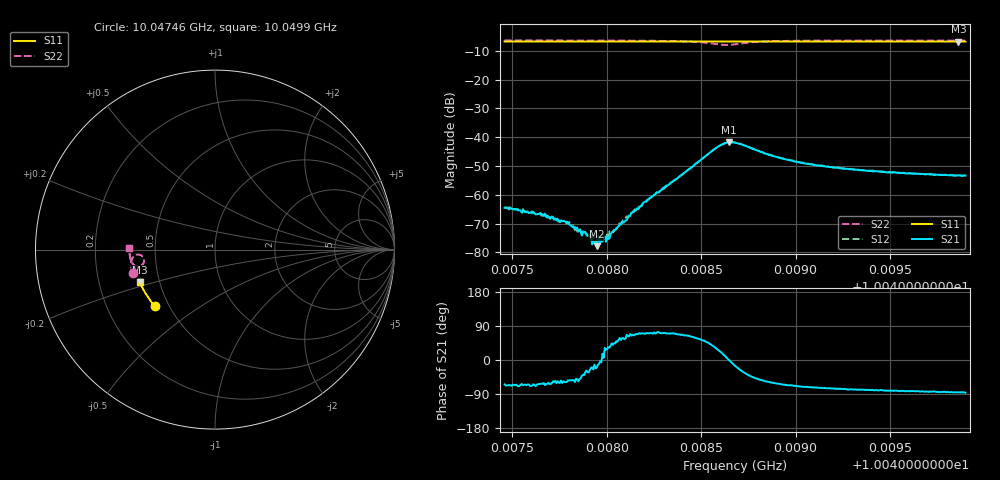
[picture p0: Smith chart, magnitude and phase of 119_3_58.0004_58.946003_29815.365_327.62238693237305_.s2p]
#  HZ  S  RI  R  50.00
! Rohde & Schwarz Vector Network Analyzer
! Rohde-Schwarz,ZNB20-2Port,1311601062101988,3.16
! Created: UTC 3/21/2024, 12:55:39 AM
! freq[Hz]  re:S11  im:S11  re:S21  im:S21  re:S12  im:S12  re:S22  im:S22
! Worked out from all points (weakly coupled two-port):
!   401 points, 10.04746 GHz to 10.0499 GHz, reference 50 ohm
!   highest |S21| = -41.78 dB at 10.04865 GHz (marker M1); lowest = -77.8 dB at 10.04795 GHz (marker M2)
!   lowest |S11| = -6.8 dB at 10.04986 GHz (marker M3), VSWR 2.67, Z = 19.4 - j8.8 ohm
!   |S11| at or under -10 dB: nowhere
!   |S22| runs from -8.0 to -6.4 dB; largest |S21 - S12| = 0.00054
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1.004746e10  -0.3358 -0.3145  0.000257 -0.000535  0.000269 -0.000539  -0.4594 -0.1326
1.0047661e10  -0.3445 -0.3043  0.000209 -0.000405  0.000221 -0.000388  -0.4627 -0.1183
1.0047783e10  -0.3497 -0.298  0.000174 -0.000283  0.000204 -0.000274  -0.4643 -0.1093
1.0047813e10  -0.351 -0.2963  0.000169 -0.000234  0.000187 -0.000238  -0.4647 -0.1068
1.0047838e10  -0.352 -0.2952  0.000168 -0.000198  0.000189 -0.000206  -0.4649 -0.1049
1.0047868e10  -0.3532 -0.2935  0.000145 -0.000132  0.000176 -0.000141  -0.4653 -0.1025
1.0047905e10  -0.3546 -0.2916  0.00017 -0.000109  0.000178 -0.000103  -0.4657 -0.0996
1.0047935e10  -0.3559 -0.29  0.000141 -3.07e-05  0.00018 -3.26e-05  -0.466 -0.0972
1.0047948e10  -0.3564 -0.2893  0.000121 -4.36e-05  0.000167 -9.43e-06  -0.4662 -0.0962
1.0047996e10  -0.3582 -0.2869  0.000136 6.96e-05  0.000157 7.47e-05  -0.4665 -0.0922
1.0048009e10  -0.3589 -0.286  0.000143 9.36e-05  0.00014 9.57e-05  -0.4665 -0.091
1.0048033e10  -0.3597 -0.2848  0.000176 0.000149  0.000154 0.000156  -0.4668 -0.0888
1.0048137e10  -0.364 -0.2794  0.000195 0.00045  0.000188 0.000452  -0.4672 -0.0794
1.0048277e10  -0.3693 -0.2717  0.00033 0.00105  0.000303 0.0011  -0.466 -0.0644
1.0048576e10  -0.3797 -0.2549  0.0054 0.00343  0.00516 0.00379  -0.4162 -0.0297
1.0048649e10  -0.382 -0.251  0.00814 -0.000121  0.00815 0.000419  -0.3952 -0.0634
1.004868e10  -0.3829 -0.2495  0.00775 -0.00211  0.00794 -0.00161  -0.4018 -0.0802
1.0048887e10  -0.3905 -0.2381  0.00225 -0.00406  0.00255 -0.00395  -0.4594 -0.0779
1.0049088e10  -0.3971 -0.2264  0.00102 -0.00318  0.00123 -0.00315  -0.4706 -0.0542
1.0049497e10  -0.4092 -0.2023  0.000392 -0.00241  0.000534 -0.00243  -0.4757 -0.0191
1.0049863e10  -0.4187 -0.1801  0.000183 -0.00217  0.00029 -0.00214  -0.4765 0.00787
1.00499e10  -0.4197 -0.1779  0.000138 -0.00215  0.000285 -0.00214  -0.4764 0.0103
